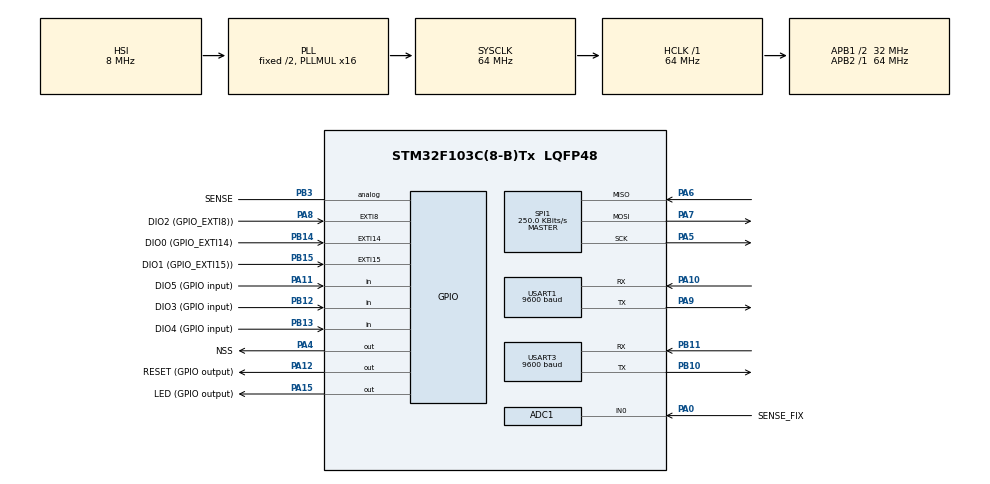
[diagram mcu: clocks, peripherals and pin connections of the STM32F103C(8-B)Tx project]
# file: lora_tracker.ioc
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ADC1.Channel-1\#ChannelRegularConversion=ADC_CHANNEL_0
ADC1.NbrOfConversionFlag=1
ADC1.Rank-1\#ChannelRegularConversion=1
ADC1.SamplingTime-1\#ChannelRegularConversion=ADC_SAMPLETIME_1CYCLE_5
ADC1.master=1
Mcu.Family=STM32F1
Mcu.Name=STM32F103C(8-B)Tx
Mcu.Package=LQFP48
NVIC.EXTI15_10_IRQn=true\:4\:0\:true\:false\:true\:true\:true
NVIC.EXTI9_5_IRQn=true\:3\:0\:true\:false\:true\:true\:true
NVIC.PriorityGroup=NVIC_PRIORITYGROUP_4
NVIC.TIM4_IRQn=true\:2\:0\:true\:false\:true\:true\:true
NVIC.USART3_IRQn=true\:0\:0\:false\:false\:true\:true\:true
PA0-WKUP.GPIO_Label=SENSE_FIX
PA0-WKUP.Signal=ADCx_IN0
PA10.Mode=Asynchronous
PA10.Signal=USART1_RX
PA11.GPIO_Label=DIO5 (GPIO input)
PA11.Signal=GPIO_Input
PA12.GPIO_Label=RESET (GPIO output)
PA12.Signal=GPIO_Output
PA13.Mode=Serial_Wire
PA13.Signal=SYS_JTMS-SWDIO
PA14.Mode=Serial_Wire
PA14.Signal=SYS_JTCK-SWCLK
PA15.GPIO_Label=LED (GPIO output)
PA15.Signal=GPIO_Output
PA4.GPIO_Label=NSS
PA4.Signal=GPIO_Output
PA5.Mode=Full_Duplex_Master
PA5.Signal=SPI1_SCK
PA6.Mode=Full_Duplex_Master
PA6.Signal=SPI1_MISO
PA7.Mode=Full_Duplex_Master
PA7.Signal=SPI1_MOSI
PA8.GPIO_Label=DIO2 (GPIO_EXTI8))
PA8.Signal=GPXTI8
PA9.Mode=Asynchronous
PA9.Signal=USART1_TX
PB10.Mode=Asynchronous
PB10.Signal=USART3_TX
PB11.Mode=Asynchronous
PB11.Signal=USART3_RX
PB12.GPIO_Label=DIO3 (GPIO input)
PB12.Signal=GPIO_Input
PB13.GPIO_Label=DIO4 (GPIO input)
PB13.Signal=GPIO_Input
PB14.GPIO_Label=DIO0 (GPIO_EXTI14)
PB14.Signal=GPXTI14
PB15.GPIO_Label=DIO1 (GPIO_EXTI15))
PB15.Signal=GPXTI15
PB3.GPIO_Label=SENSE
PB3.Signal=GPIO_Analog
ProjectManager.HeapSize=0x200
ProjectManager.StackSize=0x400
ProjectManager.TargetToolchain=Makefile
RCC.ADCPresc=RCC_ADCPCLK2_DIV8
RCC.AHBFreq_Value=64000000
RCC.APB1CLKDivider=RCC_HCLK_DIV2
RCC.APB1Freq_Value=32000000
RCC.APB1TimFreq_Value=64000000
RCC.APB2Freq_Value=64000000
RCC.APB2TimFreq_Value=64000000
RCC.HCLKFreq_Value=64000000
RCC.PLLMUL=RCC_PLL_MUL16
RCC.SYSCLKFreq_VALUE=64000000
RCC.SYSCLKSource=RCC_SYSCLKSOURCE_PLLCLK
RCC.USBFreq_Value=64000000
SH.ADCx_IN0.0=ADC1_IN0,IN0
SPI1.BaudRatePrescaler=SPI_BAUDRATEPRESCALER_256
SPI1.CalculateBaudRate=250.0 KBits/s
SPI1.Direction=SPI_DIRECTION_2LINES
SPI1.Mode=SPI_MODE_MASTER
SPI1.VirtualType=VM_MASTER
TIM4.Channel-Output\ Compare1\ No\ Output=TIM_CHANNEL_1
TIM4.Period=65535-1
TIM4.Prescaler=2000-1
USART1.BaudRate=9600
USART1.VirtualMode=VM_ASYNC
USART3.BaudRate=9600
USART3.VirtualMode=VM_ASYNC
VP_TIM4_VS_no_output1.Mode=Output Compare1 No Output
board=custom

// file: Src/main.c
/* USER CODE BEGIN Header */
/**
  ******************************************************************************
  * @file           : main.c
  * @brief          : Main program body
  ******************************************************************************
  * @attention
  *
  * <h2><center>&copy; Copyright (c) 2020 STMicroelectronics.
  * All rights reserved.</center></h2>
  *
  * This software component is licensed by ST under BSD 3-Clause license,
  * the "License"; You may not use this file except in compliance with the
  * License. You may obtain a copy of the License at:
  *                        opensource.org/licenses/BSD-3-Clause
  *
  ******************************************************************************
  */
/* USER CODE END Header */

#include "main.h"
#include <math.h>

/* USER CODE BEGIN Includes */
#include "lmic.h"
#include "config.h"
#include "debug.h"
#include "GPS.h"
/* USER CODE END Includes */

ADC_HandleTypeDef hadc1;

SPI_HandleTypeDef hspi1;

TIM_HandleTypeDef htim4;

UART_HandleTypeDef huart1;
UART_HandleTypeDef huart3;

void SystemClock_Config(void);
static void MX_GPIO_Init(void);
static void MX_USART1_UART_Init(void);
static void MX_USART3_UART_Init(void);
static void MX_SPI1_Init(void);
static void MX_TIM4_Init(void);
static void MX_ADC1_Init(void);

/* USER CODE BEGIN 0 */

// provide application router ID (8 bytes, LSBF)
void os_getArtEui (u1_t* buf) {
    memcpy(buf, APPEUI, 8);
}

// provide device ID (8 bytes, LSBF)
void os_getDevEui (u1_t* buf) {
    memcpy(buf, DEVEUI, 8);
}

// provide device key (16 bytes)
void os_getDevKey (u1_t* buf) {
    memcpy(buf, DEVKEY, 16);
}

void initfunc (osjob_t* j) {
    LMIC_reset();

    LMIC_startJoining();
}

void prepare_payload() {
    GPS_Query();

    float lat_f = GPS_Get_Lat();
    float lon_f = GPS_Get_Lon();

    int32_t lat_i = (int32_t)(lat_f*pow(10, 7));
    int32_t lon_i = (int32_t)(lon_f*pow(10, 7));

    static const float SOC_CONV = (3.3*3.2*255.0) / (4095*2.2*4.2);
    static uint16_t adc_val = 0;

    HAL_ADC_Start(&hadc1);
    if (HAL_ADC_PollForConversion(&hadc1, HAL_MAX_DELAY) == HAL_OK) {
        adc_val = HAL_ADC_GetValue(&hadc1);
    }
    HAL_ADC_Stop(&hadc1);

    uint8_t soc = (uint8_t)(adc_val * SOC_CONV);

    LMIC.frame[3] = lat_i & 0xFF;
    LMIC.frame[2] = (lat_i >> 8) & 0xFF;
    LMIC.frame[1] = (lat_i >> 16) & 0xFF;
    LMIC.frame[0] = (lat_i >> 24) & 0xFF;

    LMIC.frame[7] = lon_i & 0xFF;
    LMIC.frame[6] = (lon_i >> 8) & 0xFF;
    LMIC.frame[5] = (lon_i >> 16) & 0xFF;
    LMIC.frame[4] = (lon_i >> 24) & 0xFF;

    LMIC.frame[8] = soc; // Todo
}

static osjob_t reportjob;

// report sensor value every minute
static void reportfunc (osjob_t* j) {
    // read sensor
    prepare_payload();
    // prepare and schedule data for transmission
    LMIC_setTxData2(1, LMIC.frame, 9, 0); // (port 1, 1 bytes, unconfirmed)
    // reschedule job in 60 seconds
    os_setTimedCallback(j, os_getTime()+sec2osticks(60), reportfunc);
}

void HAL_UART_RxCpltCallback(UART_HandleTypeDef *huart) {
    GPS_CallBack();
}

//////////////////////////////////////////////////
// LMIC EVENT CALLBACK
//////////////////////////////////////////////////

void onEvent (ev_t ev) {
    debug_event(ev);

    switch(ev) {
        // network joined, session established
        case EV_JOINING:
            debug_str("try joining\r\n");
            break;
        case EV_JOINED:
            debug_led(1);
            // kick-off periodic sensor job
            reportfunc(&reportjob);
            break;
        case EV_JOIN_FAILED:
            debug_str("join failed\r\n");
            break;
        case EV_SCAN_TIMEOUT:
            debug_str("EV_SCAN_TIMEOUT\r\n");
            break;
        case EV_BEACON_FOUND:
            debug_str("EV_BEACON_FOUND\r\n");
            break;
        case EV_BEACON_MISSED:
            debug_str("EV_BEACON_MISSED\r\n");
            break;
        case EV_BEACON_TRACKED:
            debug_str("EV_BEACON_TRACKED\r\n");
            break;
        case EV_RFU1:
            debug_str("EV_RFU1\r\n");
            break;
        case EV_REJOIN_FAILED:
            debug_str("EV_REJOIN_FAILED\r\n");
            break;
        case EV_TXCOMPLETE:
            debug_str("EV_TXCOMPLETE (includes waiting for RX windows)\r\n");
            if (LMIC.txrxFlags & TXRX_ACK)
                debug_str("Received ack\r\n");
            if (LMIC.dataLen) {
                debug_str("Received ");
                debug_str(LMIC.dataLen);
                debug_str(" bytes of payload\r\n");
            }
            break;
        case EV_LOST_TSYNC:
            debug_str("EV_LOST_TSYNC\r\n");
            break;
        case EV_RESET:
            debug_str("EV_RESET\r\n");
            break;
        case EV_RXCOMPLETE:
            // data received in ping slot
            debug_str("EV_RXCOMPLETE\r\n");
            break;
        case EV_LINK_DEAD:
            debug_str("EV_LINK_DEAD\r\n");
            break;
        case EV_LINK_ALIVE:
            debug_str("EV_LINK_ALIVE\r\n");
            break;
        default:
            debug_str("Unknown event\r\n");
            break;
    }
}

/* USER CODE END 0 */

int main(void)
{

  /* MCU Configuration--------------------------------------------------------*/

  /* Reset of all peripherals, Initializes the Flash interface and the Systick. */
  HAL_Init();

  /* Configure the system clock */
  SystemClock_Config();

  /* Initialize all configured peripherals */
  MX_GPIO_Init();
  MX_USART1_UART_Init();
  MX_USART3_UART_Init();
  MX_SPI1_Init();
  MX_TIM4_Init();
  MX_ADC1_Init();
  /* USER CODE BEGIN 2 */
  debug_str("==============STARTING==============\n");

  HAL_TIM_Base_Start_IT(&htim4);    // <-----------  change to your setup
  __HAL_SPI_ENABLE(&hspi1);         // <-----------  change to your setup

  osjob_t initjob;

  // initialize runtime env
  os_init();

  // initialize debug library
  debug_init();
  // setup initial job
  os_setCallback(&initjob, initfunc);
  // execute scheduled jobs and events
  os_runloop();

  /* USER CODE END 2 */

  /* Infinite loop */
  while (1)
  {

  }
}

void SystemClock_Config(void)
{
  RCC_OscInitTypeDef RCC_OscInitStruct = {0};
  RCC_ClkInitTypeDef RCC_ClkInitStruct = {0};
  RCC_PeriphCLKInitTypeDef PeriphClkInit = {0};

  /** Initializes the CPU, AHB and APB busses clocks
  */
  RCC_OscInitStruct.OscillatorType = RCC_OSCILLATORTYPE_HSI;
  RCC_OscInitStruct.HSIState = RCC_HSI_ON;
  RCC_OscInitStruct.HSICalibrationValue = RCC_HSICALIBRATION_DEFAULT;
  RCC_OscInitStruct.PLL.PLLState = RCC_PLL_ON;
  RCC_OscInitStruct.PLL.PLLSource = RCC_PLLSOURCE_HSI_DIV2;
  RCC_OscInitStruct.PLL.PLLMUL = RCC_PLL_MUL16;
  if (HAL_RCC_OscConfig(&RCC_OscInitStruct) != HAL_OK)
  {
    Error_Handler();
  }
  /** Initializes the CPU, AHB and APB busses clocks
  */
  RCC_ClkInitStruct.ClockType = RCC_CLOCKTYPE_HCLK|RCC_CLOCKTYPE_SYSCLK
                              |RCC_CLOCKTYPE_PCLK1|RCC_CLOCKTYPE_PCLK2;
  RCC_ClkInitStruct.SYSCLKSource = RCC_SYSCLKSOURCE_PLLCLK;
  RCC_ClkInitStruct.AHBCLKDivider = RCC_SYSCLK_DIV1;
  RCC_ClkInitStruct.APB1CLKDivider = RCC_HCLK_DIV2;
  RCC_ClkInitStruct.APB2CLKDivider = RCC_HCLK_DIV1;

  if (HAL_RCC_ClockConfig(&RCC_ClkInitStruct, FLASH_LATENCY_2) != HAL_OK)
  {
    Error_Handler();
  }
  PeriphClkInit.PeriphClockSelection = RCC_PERIPHCLK_ADC;
  PeriphClkInit.AdcClockSelection = RCC_ADCPCLK2_DIV8;
  if (HAL_RCCEx_PeriphCLKConfig(&PeriphClkInit) != HAL_OK)
  {
    Error_Handler();
  }
}

static void MX_ADC1_Init(void)
{

  ADC_ChannelConfTypeDef sConfig = {0};

  /** Common config
  */
  hadc1.Instance = ADC1;
  hadc1.Init.ScanConvMode = ADC_SCAN_DISABLE;
  hadc1.Init.ContinuousConvMode = DISABLE;
  hadc1.Init.DiscontinuousConvMode = DISABLE;
  hadc1.Init.ExternalTrigConv = ADC_SOFTWARE_START;
  hadc1.Init.DataAlign = ADC_DATAALIGN_RIGHT;
  hadc1.Init.NbrOfConversion = 1;
  if (HAL_ADC_Init(&hadc1) != HAL_OK)
  {
    Error_Handler();
  }
  /** Configure Regular Channel
  */
  sConfig.Channel = ADC_CHANNEL_0;
  sConfig.Rank = ADC_REGULAR_RANK_1;
  sConfig.SamplingTime = ADC_SAMPLETIME_1CYCLE_5;
  if (HAL_ADC_ConfigChannel(&hadc1, &sConfig) != HAL_OK)
  {
    Error_Handler();
  }

}

static void MX_SPI1_Init(void)
{

  /* SPI1 parameter configuration*/
  hspi1.Instance = SPI1;
  hspi1.Init.Mode = SPI_MODE_MASTER;
  hspi1.Init.Direction = SPI_DIRECTION_2LINES;
  hspi1.Init.DataSize = SPI_DATASIZE_8BIT;
  hspi1.Init.CLKPolarity = SPI_POLARITY_LOW;
  hspi1.Init.CLKPhase = SPI_PHASE_1EDGE;
  hspi1.Init.NSS = SPI_NSS_SOFT;
  hspi1.Init.BaudRatePrescaler = SPI_BAUDRATEPRESCALER_256;
  hspi1.Init.FirstBit = SPI_FIRSTBIT_MSB;
  hspi1.Init.TIMode = SPI_TIMODE_DISABLE;
  hspi1.Init.CRCCalculation = SPI_CRCCALCULATION_DISABLE;
  hspi1.Init.CRCPolynomial = 10;
  if (HAL_SPI_Init(&hspi1) != HAL_OK)
  {
    Error_Handler();
  }

}

static void MX_TIM4_Init(void)
{

  TIM_MasterConfigTypeDef sMasterConfig = {0};
  TIM_OC_InitTypeDef sConfigOC = {0};

  htim4.Instance = TIM4;
  htim4.Init.Prescaler = 2000-1;
  htim4.Init.CounterMode = TIM_COUNTERMODE_UP;
  htim4.Init.Period = 65535-1;
  htim4.Init.ClockDivision = TIM_CLOCKDIVISION_DIV1;
  htim4.Init.AutoReloadPreload = TIM_AUTORELOAD_PRELOAD_DISABLE;
  if (HAL_TIM_OC_Init(&htim4) != HAL_OK)
  {
    Error_Handler();
  }
  sMasterConfig.MasterOutputTrigger = TIM_TRGO_RESET;
  sMasterConfig.MasterSlaveMode = TIM_MASTERSLAVEMODE_DISABLE;
  if (HAL_TIMEx_MasterConfigSynchronization(&htim4, &sMasterConfig) != HAL_OK)
  {
    Error_Handler();
  }
  sConfigOC.OCMode = TIM_OCMODE_TIMING;
  sConfigOC.Pulse = 0;
  sConfigOC.OCPolarity = TIM_OCPOLARITY_HIGH;
  sConfigOC.OCFastMode = TIM_OCFAST_DISABLE;
  if (HAL_TIM_OC_ConfigChannel(&htim4, &sConfigOC, TIM_CHANNEL_1) != HAL_OK)
  {
    Error_Handler();
  }

}

static void MX_USART1_UART_Init(void)
{

  huart1.Instance = USART1;
  huart1.Init.BaudRate = 9600;
  huart1.Init.WordLength = UART_WORDLENGTH_8B;
  huart1.Init.StopBits = UART_STOPBITS_1;
  huart1.Init.Parity = UART_PARITY_NONE;
  huart1.Init.Mode = UART_MODE_TX_RX;
  huart1.Init.HwFlowCtl = UART_HWCONTROL_NONE;
  huart1.Init.OverSampling = UART_OVERSAMPLING_16;
  if (HAL_UART_Init(&huart1) != HAL_OK)
  {
    Error_Handler();
  }

}

static void MX_USART3_UART_Init(void)
{

  huart3.Instance = USART3;
  huart3.Init.BaudRate = 9600;
  huart3.Init.WordLength = UART_WORDLENGTH_8B;
  huart3.Init.StopBits = UART_STOPBITS_1;
  huart3.Init.Parity = UART_PARITY_NONE;
  huart3.Init.Mode = UART_MODE_TX_RX;
  huart3.Init.HwFlowCtl = UART_HWCONTROL_NONE;
  huart3.Init.OverSampling = UART_OVERSAMPLING_16;
  if (HAL_UART_Init(&huart3) != HAL_OK)
  {
    Error_Handler();
  }

}

static void MX_GPIO_Init(void)
{
  GPIO_InitTypeDef GPIO_InitStruct = {0};

  /* GPIO Ports Clock Enable */
  __HAL_RCC_GPIOA_CLK_ENABLE();
  __HAL_RCC_GPIOB_CLK_ENABLE();

  /*Configure GPIO pin Output Level */
  HAL_GPIO_WritePin(GPIOA, NSS_Pin|RESET_Pin|LED_Pin, GPIO_PIN_RESET);

  /*Configure GPIO pins : NSS_Pin RESET_Pin LED_Pin */
  GPIO_InitStruct.Pin = NSS_Pin|RESET_Pin|LED_Pin;
  GPIO_InitStruct.Mode = GPIO_MODE_OUTPUT_PP;
  GPIO_InitStruct.Pull = GPIO_NOPULL;
  GPIO_InitStruct.Speed = GPIO_SPEED_FREQ_LOW;
  HAL_GPIO_Init(GPIOA, &GPIO_InitStruct);

  /*Configure GPIO pins : DIO3_Pin DIO4_Pin */
  GPIO_InitStruct.Pin = DIO3_Pin|DIO4_Pin;
  GPIO_InitStruct.Mode = GPIO_MODE_INPUT;
  GPIO_InitStruct.Pull = GPIO_NOPULL;
  HAL_GPIO_Init(GPIOB, &GPIO_InitStruct);

  /*Configure GPIO pins : DIO0_Pin DIO1_Pin */
  GPIO_InitStruct.Pin = DIO0_Pin|DIO1_Pin;
  GPIO_InitStruct.Mode = GPIO_MODE_IT_RISING;
  GPIO_InitStruct.Pull = GPIO_NOPULL;
  HAL_GPIO_Init(GPIOB, &GPIO_InitStruct);

  /*Configure GPIO pin : DIO2_Pin */
  GPIO_InitStruct.Pin = DIO2_Pin;
  GPIO_InitStruct.Mode = GPIO_MODE_IT_RISING;
  GPIO_InitStruct.Pull = GPIO_NOPULL;
  HAL_GPIO_Init(DIO2_GPIO_Port, &GPIO_InitStruct);

  /*Configure GPIO pin : DIO5_Pin */
  GPIO_InitStruct.Pin = DIO5_Pin;
  GPIO_InitStruct.Mode = GPIO_MODE_INPUT;
  GPIO_InitStruct.Pull = GPIO_NOPULL;
  HAL_GPIO_Init(DIO5_GPIO_Port, &GPIO_InitStruct);

  /*Configure GPIO pin : SENSE_Pin */
  GPIO_InitStruct.Pin = SENSE_Pin;
  GPIO_InitStruct.Mode = GPIO_MODE_ANALOG;
  HAL_GPIO_Init(SENSE_GPIO_Port, &GPIO_InitStruct);

  /* EXTI interrupt init*/
  HAL_NVIC_SetPriority(EXTI9_5_IRQn, 3, 0);
  HAL_NVIC_EnableIRQ(EXTI9_5_IRQn);

  HAL_NVIC_SetPriority(EXTI15_10_IRQn, 4, 0);
  HAL_NVIC_EnableIRQ(EXTI15_10_IRQn);

}

void Error_Handler(void)
{
}

/************************ (C) COPYRIGHT STMicroelectronics *****END OF FILE****/
